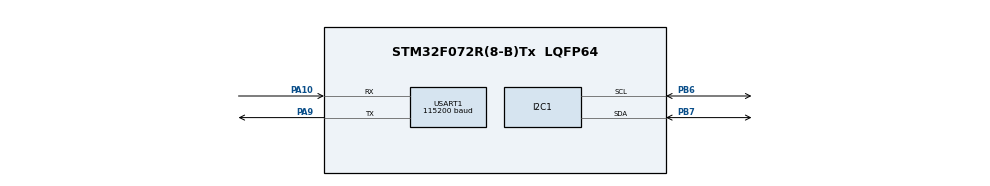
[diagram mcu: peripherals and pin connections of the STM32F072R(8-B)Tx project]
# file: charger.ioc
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Mcu.Family=STM32F0
Mcu.Name=STM32F072R(8-B)Tx
Mcu.Package=LQFP64
NVIC.I2C1_IRQn=true\:0\:0\:false\:false\:true\:true
NVIC.USART1_IRQn=true\:0\:0\:false\:false\:true\:true
PA10.Mode=Asynchronous
PA10.Signal=USART1_RX
PA13.Mode=Serial_Wire
PA13.Signal=SYS_SWDIO
PA14.Mode=Serial_Wire
PA14.Signal=SYS_SWCLK
PA9.Mode=Asynchronous
PA9.Signal=USART1_TX
PB6.Mode=I2C
PB6.Signal=I2C1_SCL
PB7.Mode=I2C
PB7.Signal=I2C1_SDA
PC14-OSC32_IN.Mode=LSE-External-Oscillator
PC14-OSC32_IN.Signal=RCC_OSC32_IN
PC15-OSC32_OUT.Mode=LSE-External-Oscillator
PC15-OSC32_OUT.Signal=RCC_OSC32_OUT
PF0-OSC_IN.Mode=HSE-External-Oscillator
PF0-OSC_IN.Signal=RCC_OSC_IN
PF1-OSC_OUT.Mode=HSE-External-Oscillator
PF1-OSC_OUT.Signal=RCC_OSC_OUT
ProjectManager.HeapSize=0x200
ProjectManager.StackSize=0x400
ProjectManager.TargetToolchain=Makefile
USART1.BaudRate=115200
USART1.VirtualMode-Asynchronous=VM_ASYNC
USART1.WordLength=WORDLENGTH_8B
board=charger

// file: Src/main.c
/**
  ******************************************************************************
  * File Name          : main.c
  * Description        : Main program body
  ******************************************************************************
  ** This notice applies to any and all portions of this file
  * that are not between comment pairs USER CODE BEGIN and
  * USER CODE END. Other portions of this file, whether
  * inserted by the user or by software development tools
  * are owned by their respective copyright owners.
  *
  * COPYRIGHT(c) 2018 STMicroelectronics
  *
  * Redistribution and use in source and binary forms, with or without modification,
  * are permitted provided that the following conditions are met:
  *   1. Redistributions of source code must retain the above copyright notice,
  *      this list of conditions and the following disclaimer.
  *   2. Redistributions in binary form must reproduce the above copyright notice,
  *      this list of conditions and the following disclaimer in the documentation
  *      and/or other materials provided with the distribution.
  *   3. Neither the name of STMicroelectronics nor the names of its contributors
  *      may be used to endorse or promote products derived from this software
  *      without specific prior written permission.
  *
  * THIS SOFTWARE IS PROVIDED BY THE COPYRIGHT HOLDERS AND CONTRIBUTORS "AS IS"
  * AND ANY EXPRESS OR IMPLIED WARRANTIES, INCLUDING, BUT NOT LIMITED TO, THE
  * IMPLIED WARRANTIES OF MERCHANTABILITY AND FITNESS FOR A PARTICULAR PURPOSE ARE
  * DISCLAIMED. IN NO EVENT SHALL THE COPYRIGHT HOLDER OR CONTRIBUTORS BE LIABLE
  * FOR ANY DIRECT, INDIRECT, INCIDENTAL, SPECIAL, EXEMPLARY, OR CONSEQUENTIAL
  * DAMAGES (INCLUDING, BUT NOT LIMITED TO, PROCUREMENT OF SUBSTITUTE GOODS OR
  * SERVICES; LOSS OF USE, DATA, OR PROFITS; OR BUSINESS INTERRUPTION) HOWEVER
  * CAUSED AND ON ANY THEORY OF LIABILITY, WHETHER IN CONTRACT, STRICT LIABILITY,
  * OR TORT (INCLUDING NEGLIGENCE OR OTHERWISE) ARISING IN ANY WAY OUT OF THE USE
  * OF THIS SOFTWARE, EVEN IF ADVISED OF THE POSSIBILITY OF SUCH DAMAGE.
  *
  ******************************************************************************
  */

#include "main.h"
#include "stm32f0xx_hal.h"

/* USER CODE BEGIN Includes */
#include "bq24780s.h"

/* USER CODE END Includes */

I2C_HandleTypeDef hi2c1;

UART_HandleTypeDef huart1;

/* USER CODE BEGIN PV */
/* Private variables ---------------------------------------------------------*/
#define RX_BUF_SIZE 20
uint8_t rx_buf[RX_BUF_SIZE];
uint8_t rx_cnt = 0;
uint8_t enter = 0;
uint8_t prompt[] = "\n\r>";
uint8_t crlf[] = "\n\r";
uint8_t msg_wrong_ascii[] = "\r\nWrong ascii!\r\n";

/* USER CODE END PV */

void SystemClock_Config(void);
static void MX_GPIO_Init(void);
static void MX_I2C1_Init(void);
static void MX_USART1_UART_Init(void);

/* USER CODE BEGIN PFP */
/* Private function prototypes -----------------------------------------------*/

/* USER CODE END PFP */

/* USER CODE BEGIN 0 */
void HAL_UART_RxCpltCallback ( UART_HandleTypeDef *  huart )
{
    if(huart == &huart1){
        HAL_UART_Transmit_IT(&huart1, &rx_buf[rx_cnt], 1);
        if(rx_buf[rx_cnt] == '\r') {
            enter = 1;
        } else {
            if(rx_cnt < RX_BUF_SIZE) rx_cnt++;
            HAL_UART_Receive_IT(&huart1, &rx_buf[rx_cnt], 1);
        }
    }
}

uint8_t atob(uint8_t * ascii, uint8_t * result)
{
    uint8_t byte[2];
    for(uint8_t i = 0; i < 2; i++) {
        if(ascii[i] >= '0' && ascii[i] <= '9') {
            byte[i] = ascii[i] - '0'; //char 0-9 to hex
        } else if(ascii[i] >= 'A'  && ascii[i] <= 'F') {
            byte[i] = ascii[i] - 'A' + 10; //char A-F to hex
        } else if(ascii[i] >= 'a' && ascii[i] <= 'f') {
            byte[i] = ascii[i] - 'a' + 10; //char a-f to hex
        } else {
            return 0; //wrong ascii
        }
    }
    *result = byte[0]*16 + byte[1];
    return 1;
}
/* USER CODE END 0 */

int main(void)
{

  /* MCU Configuration----------------------------------------------------------*/

  /* Reset of all peripherals, Initializes the Flash interface and the Systick. */
  HAL_Init();

  /* Configure the system clock */
  SystemClock_Config();

  /* Initialize all configured peripherals */
  MX_GPIO_Init();
  MX_I2C1_Init();
  MX_USART1_UART_Init();

  /* USER CODE BEGIN 2 */
    bq24780s_init(&hi2c1, &huart1);
    HAL_UART_Transmit(&huart1, prompt, sizeof(prompt), 100);

    /* start uart1 rx */
    HAL_UART_Receive_IT(&huart1, &rx_buf[rx_cnt], 1);
  /* USER CODE END 2 */

  /* Infinite loop */
  /* USER CODE BEGIN WHILE */
  while (1)
  {
        if(enter) {
            enter = 0;
            HAL_Delay(10); //wait until echo is sent
            if(rx_cnt == 0) {
                HAL_UART_Transmit(&huart1, crlf, sizeof(crlf), 100);
                bq24780s_dump_regs();
                HAL_UART_Transmit_IT(&huart1, prompt, sizeof(prompt));
            } else if(rx_cnt == 7 && rx_buf[2] == '=') {
                //convert ascii
                uint8_t rc;
                uint16_t MemAddress;
                uint8_t Data[2];
                rc  = atob(&rx_buf[0], (uint8_t*) &MemAddress);
                rc += atob(&rx_buf[3], &Data[1]); //MSByte last
                rc += atob(&rx_buf[5], &Data[0]); //LSByte first
                if(rc != 3) {
                    HAL_UART_Transmit(&huart1, msg_wrong_ascii, sizeof(msg_wrong_ascii), 100);
                } else {
                    bq24780s_write_word(MemAddress, &Data);
                    HAL_UART_Transmit(&huart1, crlf, sizeof(crlf), 100);
                    bq24780s_dump_regs();
                }
            }
            rx_cnt = 0;
            HAL_UART_Transmit_IT(&huart1, prompt, sizeof(prompt));
            HAL_UART_Receive_IT(&huart1, &rx_buf[rx_cnt], 1);
        }

  /* USER CODE END WHILE */

  }

}

/** System Clock Configuration
*/
void SystemClock_Config(void)
{

  RCC_OscInitTypeDef RCC_OscInitStruct;
  RCC_ClkInitTypeDef RCC_ClkInitStruct;
  RCC_PeriphCLKInitTypeDef PeriphClkInit;

    /**Initializes the CPU, AHB and APB busses clocks
    */
  RCC_OscInitStruct.OscillatorType = RCC_OSCILLATORTYPE_HSI;
  RCC_OscInitStruct.HSIState = RCC_HSI_ON;
  RCC_OscInitStruct.HSICalibrationValue = 16;
  RCC_OscInitStruct.PLL.PLLState = RCC_PLL_NONE;
  if (HAL_RCC_OscConfig(&RCC_OscInitStruct) != HAL_OK)
  {
    _Error_Handler(__FILE__, __LINE__);
  }

    /**Initializes the CPU, AHB and APB busses clocks
    */
  RCC_ClkInitStruct.ClockType = RCC_CLOCKTYPE_HCLK|RCC_CLOCKTYPE_SYSCLK
                              |RCC_CLOCKTYPE_PCLK1;
  RCC_ClkInitStruct.SYSCLKSource = RCC_SYSCLKSOURCE_HSI;
  RCC_ClkInitStruct.AHBCLKDivider = RCC_SYSCLK_DIV1;
  RCC_ClkInitStruct.APB1CLKDivider = RCC_HCLK_DIV1;

  if (HAL_RCC_ClockConfig(&RCC_ClkInitStruct, FLASH_LATENCY_0) != HAL_OK)
  {
    _Error_Handler(__FILE__, __LINE__);
  }

  PeriphClkInit.PeriphClockSelection = RCC_PERIPHCLK_USART1|RCC_PERIPHCLK_I2C1;
  PeriphClkInit.Usart1ClockSelection = RCC_USART1CLKSOURCE_PCLK1;
  PeriphClkInit.I2c1ClockSelection = RCC_I2C1CLKSOURCE_HSI;
  if (HAL_RCCEx_PeriphCLKConfig(&PeriphClkInit) != HAL_OK)
  {
    _Error_Handler(__FILE__, __LINE__);
  }

    /**Configure the Systick interrupt time
    */
  HAL_SYSTICK_Config(HAL_RCC_GetHCLKFreq()/1000);

    /**Configure the Systick
    */
  HAL_SYSTICK_CLKSourceConfig(SYSTICK_CLKSOURCE_HCLK);

  /* SysTick_IRQn interrupt configuration */
  HAL_NVIC_SetPriority(SysTick_IRQn, 0, 0);
}

/* I2C1 init function */
static void MX_I2C1_Init(void)
{

  hi2c1.Instance = I2C1;
  hi2c1.Init.Timing = 0x2000090E;
  hi2c1.Init.OwnAddress1 = 0;
  hi2c1.Init.AddressingMode = I2C_ADDRESSINGMODE_7BIT;
  hi2c1.Init.DualAddressMode = I2C_DUALADDRESS_DISABLE;
  hi2c1.Init.OwnAddress2 = 0;
  hi2c1.Init.OwnAddress2Masks = I2C_OA2_NOMASK;
  hi2c1.Init.GeneralCallMode = I2C_GENERALCALL_DISABLE;
  hi2c1.Init.NoStretchMode = I2C_NOSTRETCH_DISABLE;
  if (HAL_I2C_Init(&hi2c1) != HAL_OK)
  {
    _Error_Handler(__FILE__, __LINE__);
  }

    /**Configure Analogue filter
    */
  if (HAL_I2CEx_ConfigAnalogFilter(&hi2c1, I2C_ANALOGFILTER_ENABLE) != HAL_OK)
  {
    _Error_Handler(__FILE__, __LINE__);
  }

    /**Configure Digital filter
    */
  if (HAL_I2CEx_ConfigDigitalFilter(&hi2c1, 0) != HAL_OK)
  {
    _Error_Handler(__FILE__, __LINE__);
  }

}

/* USART1 init function */
static void MX_USART1_UART_Init(void)
{

  huart1.Instance = USART1;
  huart1.Init.BaudRate = 115200;
  huart1.Init.WordLength = UART_WORDLENGTH_8B;
  huart1.Init.StopBits = UART_STOPBITS_1;
  huart1.Init.Parity = UART_PARITY_NONE;
  huart1.Init.Mode = UART_MODE_TX_RX;
  huart1.Init.HwFlowCtl = UART_HWCONTROL_NONE;
  huart1.Init.OverSampling = UART_OVERSAMPLING_16;
  huart1.Init.OneBitSampling = UART_ONE_BIT_SAMPLE_DISABLE;
  huart1.AdvancedInit.AdvFeatureInit = UART_ADVFEATURE_NO_INIT;
  if (HAL_UART_Init(&huart1) != HAL_OK)
  {
    _Error_Handler(__FILE__, __LINE__);
  }

}

/** Configure pins as
        * Analog
        * Input
        * Output
        * EVENT_OUT
        * EXTI
*/
static void MX_GPIO_Init(void)
{

  /* GPIO Ports Clock Enable */
  __HAL_RCC_GPIOC_CLK_ENABLE();
  __HAL_RCC_GPIOF_CLK_ENABLE();
  __HAL_RCC_GPIOA_CLK_ENABLE();
  __HAL_RCC_GPIOB_CLK_ENABLE();

}

void _Error_Handler(char * file, int line)
{
  while(1)
  {
  }
}

/************************ (C) COPYRIGHT STMicroelectronics *****END OF FILE****/
